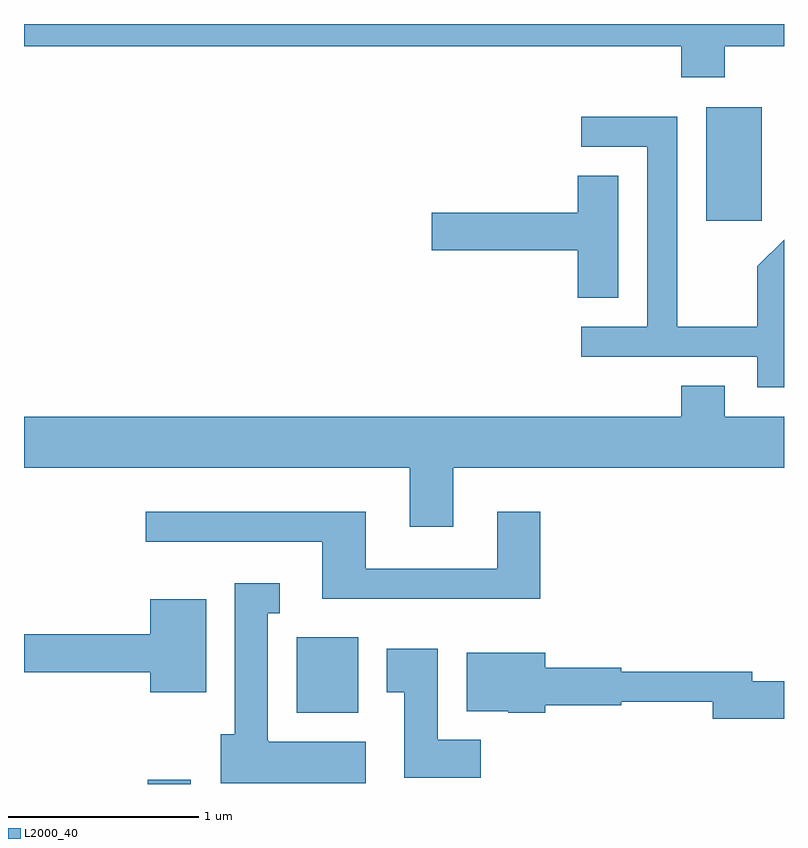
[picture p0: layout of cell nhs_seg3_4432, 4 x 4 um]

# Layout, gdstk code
import gdstk
lib = gdstk.Library(unit=1e-6, precision=1e-09)
def R(c, l, rs):  # rectangles x0, y0, x1, y1
    for r in rs: c.add(gdstk.rectangle(r[:2], r[2:], *l))
def P(c, l, *ps):  # polygons
    for p in ps: c.add(gdstk.Polygon(p, *l))
L2000_40 = (2000, 40)

nhs_seg3_4432 = lib.new_cell('nhs_seg3_4432')
R(nhs_seg3_4432, L2000_40, [(316.261,1139.892,316.489,1139.914), (317.046,1140.266,317.369,1140.664), (319.201,1142.856,319.494,1143.454)])
P(nhs_seg3_4432, L2000_40, [(319.299,1143.776),(319.611,1143.776),(319.611,1143.892),(315.611,1143.892),(315.611,1143.776),(319.071,1143.776),(319.071,1143.611),(319.299,1143.611)],
  [(319.611,1142.757),(319.471,1142.617),(319.471,1142.299),(319.049,1142.299),(319.049,1143.404),(318.543,1143.404),(318.543,1143.246),(318.891,1143.246),(318.891,1142.299),(318.543,1142.299),(318.543,1142.141),(319.471,1142.141),(319.471,1141.981),(319.611,1141.981)],
  [(318.739,1143.094),(318.526,1143.094),(318.526,1142.899),(317.756,1142.899),(317.756,1142.701),(318.526,1142.701),(318.526,1142.451),(318.739,1142.451)],
  [(317.869,1141.556),(319.611,1141.556),(319.611,1141.824),(319.299,1141.824),(319.299,1141.989),(319.071,1141.989),(319.071,1141.824),(315.611,1141.824),(315.611,1141.556),(317.641,1141.556),(317.641,1141.246),(317.869,1141.246)],
  [(318.329,1141.324),(318.101,1141.324),(318.101,1141.024),(317.409,1141.024),(317.409,1141.324),(316.253,1141.324),(316.253,1141.166),(317.181,1141.166),(317.181,1140.866),(318.329,1140.866)],
  [(317.409,1140.114),(316.9,1140.114),(316.9,1140.12),(316.894,1140.12),(316.894,1140.791),(316.958,1140.791),(316.958,1140.949),(316.721,1140.949),(316.721,1140.154),(316.646,1140.154),(316.646,1139.896),(317.409,1139.896)],
  [(316.569,1140.864),(316.276,1140.864),(316.276,1140.679),(315.611,1140.679),(315.611,1140.481),(316.276,1140.481),(316.276,1140.376),(316.569,1140.376)],
  [(318.014,1140.124),(317.789,1140.124),(317.789,1140.604),(317.521,1140.604),(317.521,1140.376),(317.611,1140.376),(317.611,1139.926),(318.014,1139.926)],
  [(319.611,1140.434),(319.444,1140.434),(319.444,1140.484),(318.754,1140.484),(318.754,1140.504),(318.354,1140.504),(318.354,1140.584),(317.941,1140.584),(317.941,1140.276),(318.16,1140.276),(318.16,1140.266),(318.354,1140.266),(318.354,1140.306),(318.754,1140.306),(318.754,1140.326),(319.236,1140.326),(319.236,1140.236),(319.611,1140.236)])

lib.write_gds('nhs_seg3_4432.gds')
